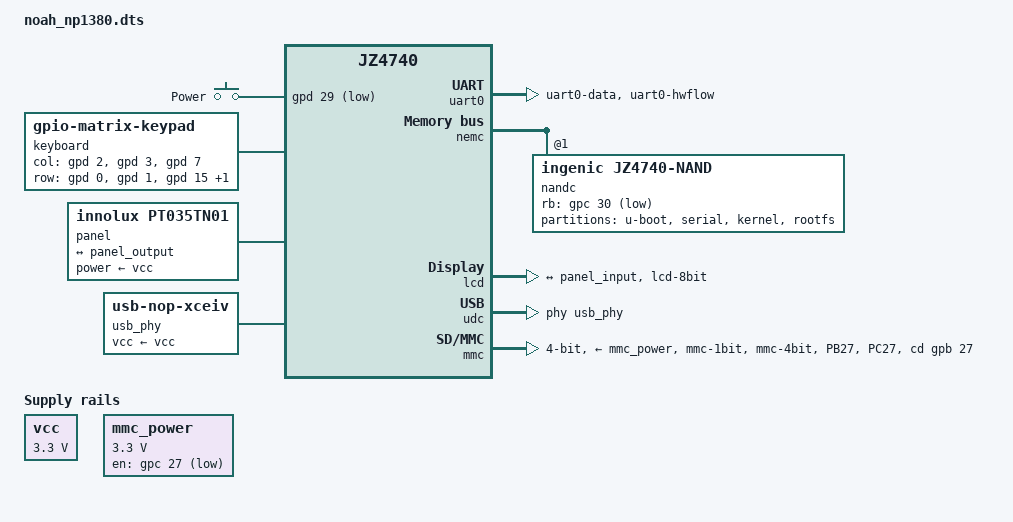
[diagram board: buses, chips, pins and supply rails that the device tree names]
// SPDX-License-Identifier: GPL-2.0
/dts-v1/;

#include "jz4740.dtsi"

#include <dt-bindings/gpio/gpio.h>
#include <dt-bindings/iio/adc/ingenic,adc.h>
#include <dt-bindings/clock/ingenic,tcu.h>
#include <dt-bindings/input/input.h>

/ {
	compatible = "noah,np1380", "ingenic,jz4740";

	chosen {
		stdout-path = &uart0;
	};

	vcc: regulator@0 {
		compatible = "regulator-fixed";
		regulator-name = "vcc";

		regulator-min-microvolt = <3300000>;
		regulator-max-microvolt = <3300000>;
		regulator-always-on;
	};

	mmc_power: regulator@1 {
		compatible = "regulator-fixed";
		regulator-name = "mmc_vcc";
		gpio = <&gpc 27 GPIO_ACTIVE_LOW>;

		regulator-min-microvolt = <3300000>;
		regulator-max-microvolt = <3300000>;
	};

	/*amp_supply: regulator@2 {
		compatible = "regulator-fixed";
		regulator-name = "amp_supply";
		gpio = <&gpd 4 0>;
		enable-active-high;

		regulator-min-microvolt = <3300000>;
		regulator-max-microvolt = <3300000>;
	};

	amp: analog-amplifier {
		compatible = "simple-audio-amplifier";
		enable-gpios = <&gpb 29 GPIO_ACTIVE_HIGH>;
		VCC-supply = <&amp_supply>;
	};

	sound {
		compatible = "simple-audio-card";

		simple-audio-card,name = "QI LB60";
		simple-audio-card,format = "i2s";

		simple-audio-card,widgets =
			"Speaker", "Speaker",
			"Microphone", "Mic";
		simple-audio-card,routing =
			"MIC", "Mic",
			"Speaker", "OUTL",
			"Speaker", "OUTR",
			"INL", "LOUT",
			"INL", "ROUT";

		simple-audio-card,aux-devs = <&amp>;

		simple-audio-card,bitclock-master = <&dai_codec>;
		simple-audio-card,frame-master = <&dai_codec>;

		dai_cpu: simple-audio-card,cpu {
			sound-dai = <&aic>;
		};

		dai_codec: simple-audio-card,codec {
			sound-dai = <&codec>;
		};
	};*/

	keys {
		compatible = "gpio-keys";

		key {
			label = "Power";
			wakeup-source;
			linux,code = <KEY_POWER>;
			gpios = <&gpd 29 GPIO_ACTIVE_LOW>;
		};
	};

	keyboard {
		compatible = "gpio-matrix-keypad";

		col-scan-delay-us = <100000>;
		debounce-delay-ms = <100>;
		wakeup-source;

		col-gpios = <&gpd 2 0 &gpd 3 0 &gpd 7 0>;
		row-gpios = <&gpd 0 0 &gpd 1 0 &gpd 15 0 &gpd 17 0>;
		gpio-activelow;
		//drive-inactive-cols;

		pinctrl-names = "default";
		pinctrl-0 = <&pins_keyboard>;

		linux,keymap = <
			MATRIX_KEY(0, 0, KEY_A)	/* ? */
			MATRIX_KEY(0, 1, KEY_B)	/* ? */
			MATRIX_KEY(0, 2, KEY_C)	/* ? */
			MATRIX_KEY(1, 0, KEY_E)	/* ? */
			MATRIX_KEY(1, 1, KEY_F)	/* ? */
			MATRIX_KEY(1, 2, KEY_G)	/* ? */
			MATRIX_KEY(2, 0, KEY_I)	/* ? */
			MATRIX_KEY(2, 1, KEY_J)	/* ? */
			MATRIX_KEY(2, 2, KEY_K)	/* ? */
			MATRIX_KEY(3, 0, KEY_M)	/* ? */
			MATRIX_KEY(3, 1, KEY_N)	/* ? */
			MATRIX_KEY(3, 2, KEY_O)	/* ? */
			>;
	};

	/*spi {
		compatible = "spi-gpio";
		#address-cells = <1>;
		#size-cells = <0>;

		sck-gpios = <&gpc 23 GPIO_ACTIVE_HIGH>;
		mosi-gpios = <&gpc 22 GPIO_ACTIVE_HIGH>;
		cs-gpios = <&gpc 21 GPIO_ACTIVE_LOW>;
		num-chipselects = <1>;
	};*/

	/*usb_charger: charger {
		compatible = "gpio-charger";
		charger-type = "usb-sdp";
		gpios = <&gpd 28 GPIO_ACTIVE_LOW>;
		status-gpios = <&gpc 27 GPIO_ACTIVE_LOW>;
	};

	simple_battery: battery {
		compatible = "simple-battery";
		voltage-min-design-microvolt = <3600000>;
		voltage-max-design-microvolt = <4200000>;
	};

	pmu {
		compatible = "ingenic,jz4740-battery";
		io-channels = <&adc INGENIC_ADC_BATTERY>;
		io-channel-names = "battery";
		power-supplies = <&usb_charger>;
		monitored-battery = <&simple_battery>;
	};

	hwmon {
		compatible = "iio-hwmon";
		io-channels = <&adc INGENIC_ADC_AUX>;
	};*/

	panel: panel {
		compatible = "innolux,pt035tn01";

		power-supply = <&vcc>;

		port {
			panel_input: endpoint {
				remote-endpoint = <&panel_output>;
			};
		};
	};

	usb_phy: usb-phy {
		compatible = "usb-nop-xceiv";
		#phy-cells = <0>;

		vcc-supply = <&vcc>;
	};
};

&ext {
	clock-frequency = <12000000>;
};

&rtc_dev {
	system-power-controller;
};

&uart0 {
	pinctrl-names = "default";
	pinctrl-0 = <&pins_uart0>;
};

&uart1 {
	status = "disabled";
};

&nemc {
	nandc: nand-controller@1 {
		compatible = "ingenic,jz4740-nand";
		reg = <1 0 0x4000000>;

		#address-cells = <1>;
		#size-cells = <0>;

		ingenic,bch-controller = <&ecc>;

		pinctrl-names = "default";
		pinctrl-0 = <&pins_nemc>;

		rb-gpios = <&gpc 30 GPIO_ACTIVE_LOW>;

		nand@1 {
			reg = <1>;

			nand-ecc-step-size = <512>;
			nand-ecc-strength = <4>;
			nand-ecc-mode = "hw";
			nand-is-boot-medium;
			nand-on-flash-bbt;

			partitions {
				compatible = "fixed-partitions";
				#address-cells = <1>;
				#size-cells = <1>;

				partition@0 {
					label = "u-boot";
					reg = <0x0 0x200000>;
				};

				partition@200000 {
					label = "serial";
					reg = <0x200000 0x200000>;
				};

				partition@400000 {
					label = "kernel";
					reg = <0x400000 0x400000>;
				};

				partition@800000 {
					label = "rootfs";
					reg = <0x800000 0x0>;
				};
			};
		};
	};
};

&lcd {
	pinctrl-names = "default";
	pinctrl-0 = <&pins_lcd>;

	port {
		panel_output: endpoint {
			remote-endpoint = <&panel_input>;
		};
	};
};

&udc {
	phys = <&usb_phy>;
};

&pinctrl {
	pins_lcd: lcd {
		function = "lcd";
		groups = "lcd-8bit";
	};

	pins_nemc: nemc {
		function = "nand";
		groups = "nand-cs1";
	};

	pins_uart0: uart0 {
		function = "uart0";
		groups = "uart0-data", "uart0-hwflow";
		bias-disable;
	};

	pins_mmc: mmc {
		mmc {
			function = "mmc";
			groups = "mmc-1bit", "mmc-4bit";
			bias-disable;
		};

		mmc-gpios {
			pins = "PB27", "PC27";
			bias-disable;
		};
	};

	pins_keyboard: keyboard {
		pins = "PD2", "PD3", "PD7", "PD0", "PD1", "PD15", "PD17";
		bias-pull-up;
	};
};

&mmc {
	bus-width = <4>;
	max-frequency = <20000000>;
	cd-gpios = <&gpb 27 GPIO_ACTIVE_HIGH>;
	vmmc-supply = <&mmc_power>;

	pinctrl-names = "default";
	pinctrl-0 = <&pins_mmc>;
};

&tcu {
	/* 750 kHz for the system timer and clocksource */
	assigned-clocks = <&tcu TCU_CLK_TIMER0>, <&tcu TCU_CLK_TIMER1>;
	assigned-clock-rates = <750000>, <750000>;
};
